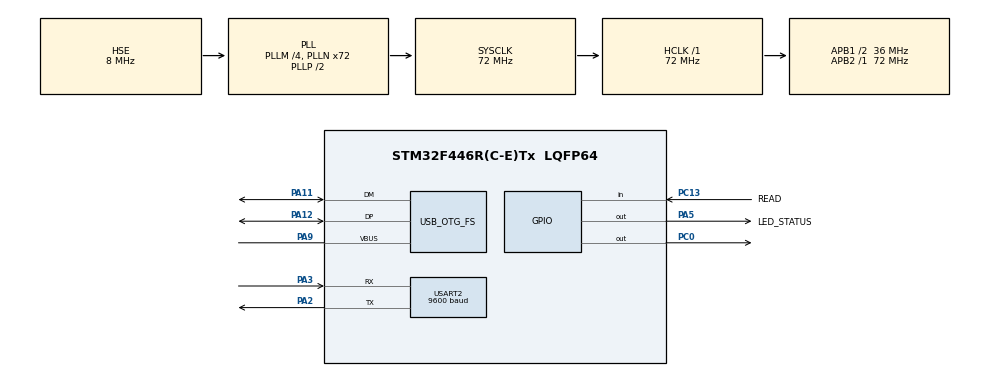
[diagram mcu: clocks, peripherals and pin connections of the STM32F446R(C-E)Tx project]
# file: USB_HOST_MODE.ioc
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FATFS._MAX_SS=4096
Mcu.Family=STM32F4
Mcu.Name=STM32F446R(C-E)Tx
Mcu.Package=LQFP64
NVIC.OTG_FS_IRQn=true\:0\:0\:false\:false\:true\:false\:true
NVIC.PriorityGroup=NVIC_PRIORITYGROUP_0
PA11.Mode=Host_Only
PA11.Signal=USB_OTG_FS_DM
PA12.Mode=Host_Only
PA12.Signal=USB_OTG_FS_DP
PA2.Mode=Asynchronous
PA2.Signal=USART2_TX
PA3.Mode=Asynchronous
PA3.Signal=USART2_RX
PA5.GPIO_Label=LED_STATUS
PA5.Signal=GPIO_Output
PA9.Mode=Activate_VBUS
PA9.Signal=USB_OTG_FS_VBUS
PC0.Signal=GPIO_Output
PC13.GPIO_Label=READ
PC13.Signal=GPIO_Input
PH0-OSC_IN.Mode=HSE-External-Oscillator
PH0-OSC_IN.Signal=RCC_OSC_IN
PH1-OSC_OUT.Mode=HSE-External-Oscillator
PH1-OSC_OUT.Signal=RCC_OSC_OUT
ProjectManager.HeapSize=0x2000
ProjectManager.StackSize=0x2000
ProjectManager.TargetToolchain=MDK-ARM V5.27
RCC.48MHZClocksFreq_Value=84000000
RCC.AHBFreq_Value=72000000
RCC.APB1CLKDivider=RCC_HCLK_DIV2
RCC.APB1Freq_Value=36000000
RCC.APB1TimFreq_Value=72000000
RCC.APB2Freq_Value=72000000
RCC.APB2TimFreq_Value=72000000
RCC.CortexFreq_Value=72000000
RCC.FLatency-AdvancedSettings=FLASH_LATENCY_2
RCC.HCLKFreq_Value=72000000
RCC.HSE_VALUE=8000000
RCC.HSI_VALUE=16000000
RCC.PLLM=4
RCC.PLLN=72
RCC.PLLQ=3
RCC.SYSCLKFreq_VALUE=72000000
RCC.SYSCLKSource=RCC_SYSCLKSOURCE_PLLCLK
RCC.USBFreq_Value=48000000
RCC.VCOOutputFreq_Value=144000000
USART2.BaudRate=9600
USART2.VirtualMode=VM_ASYNC
USB_HOST.BSP.number=1
USB_HOST.USBH_HandleTypeDef-MSC_FS=hUsbHostFS
USB_HOST.VirtualModeFS=Msc
USB_HOST0.BSP.STBoard=false
USB_HOST0.BSP.api=Unknown
USB_HOST0.BSP.i2caddr=0
USB_HOST0.BSP.instance=PC0
USB_HOST0.BSP.ip=GPIO
USB_HOST0.BSP.mode=Output
USB_HOST0.BSP.name=Drive_VBUS_FS
USB_HOST0.BSP.solution=PC0
USB_OTG_FS.VirtualMode=Host_Only
USB_OTG_FS.phy_itface=HCD_PHY_EMBEDDED
VP_FATFS_VS_USB.Mode=USB
VP_USB_HOST_VS_USB_HOST_MSC_FS.Mode=MSC_FS
board=NUCLEO-F446RE

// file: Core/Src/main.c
/* USER CODE BEGIN Header */
/**
  ******************************************************************************
  * @file           : main.c
  * @brief          : Main program body
  ******************************************************************************
  * @attention
  *
  * <h2><center>&copy; Copyright (c) 2021 STMicroelectronics.
  * All rights reserved.</center></h2>
  *
  * This software component is licensed by ST under Ultimate Liberty license
  * SLA0044, the "License"; You may not use this file except in compliance with
  * the License. You may obtain a copy of the License at:
  *                             www.st.com/SLA0044
  *
  ******************************************************************************
  */
/* USER CODE END Header */
#include "main.h"
#include "fatfs.h"
#include "usb_host.h"

/* USER CODE BEGIN Includes */
#include <stdio.h>
#include <string.h>
#include <stdbool.h>
#include <stdlib.h>
/* USER CODE END Includes */

UART_HandleTypeDef huart2;

/* USER CODE BEGIN PV */
extern ApplicationTypeDef Appli_state;
extern char USBHPath[4];   /* USBH logical drive path */
extern FATFS USBHFatFS;    /* File system object for USBH logical drive */
extern FIL USBHFile;       /* File object for USBH */
FRESULT RES;
char hold[100];
UINT byteswritten,bytesread;
/* USER CODE END PV */

void SystemClock_Config(void);
static void MX_GPIO_Init(void);
static void MX_USART2_UART_Init(void);
void MX_USB_HOST_Process(void);

/* USER CODE BEGIN PFP */
bool USB_WRITE(void);
bool USB_READ(void);

/* USER CODE END PFP */

int main(void)
{

  /* MCU Configuration--------------------------------------------------------*/

  /* Reset of all peripherals, Initializes the Flash interface and the Systick. */
  HAL_Init();

  /* Configure the system clock */
  SystemClock_Config();

  /* Initialize all configured peripherals */
  MX_GPIO_Init();
  MX_USART2_UART_Init();
  MX_FATFS_Init();
  MX_USB_HOST_Init();

  /* Infinite loop */
  while (1)
  {
    MX_USB_HOST_Process();

    /* USER CODE BEGIN 3 */
		switch(Appli_state)
		{
			case APPLICATION_IDLE:
				break;
			case APPLICATION_START:
				if(f_mount(&USBHFatFS,(TCHAR const*)USBHPath,0)==FR_OK)
				{
				HAL_GPIO_WritePin(LED_STATUS_GPIO_Port,LED_STATUS_Pin,GPIO_PIN_SET);
				}
					break;
			case APPLICATION_READY:
					HAL_Delay(3000);
					USB_WRITE();
					for(int i=0;i<=10;i++)
					{
						HAL_GPIO_TogglePin(LED_STATUS_GPIO_Port,LED_STATUS_Pin);
						HAL_Delay(100);
					}
					USB_READ();
				break;
			case APPLICATION_DISCONNECT:
				HAL_GPIO_WritePin(LED_STATUS_GPIO_Port,LED_STATUS_Pin,GPIO_PIN_RESET);
				break;

		}
  }
  /* USER CODE END 3 */
}

void SystemClock_Config(void)
{
  RCC_OscInitTypeDef RCC_OscInitStruct = {0};
  RCC_ClkInitTypeDef RCC_ClkInitStruct = {0};
  RCC_PeriphCLKInitTypeDef PeriphClkInitStruct = {0};

  /** Configure the main internal regulator output voltage
  */
  __HAL_RCC_PWR_CLK_ENABLE();
  __HAL_PWR_VOLTAGESCALING_CONFIG(PWR_REGULATOR_VOLTAGE_SCALE3);
  /** Initializes the RCC Oscillators according to the specified parameters
  * in the RCC_OscInitTypeDef structure.
  */
  RCC_OscInitStruct.OscillatorType = RCC_OSCILLATORTYPE_HSE;
  RCC_OscInitStruct.HSEState = RCC_HSE_ON;
  RCC_OscInitStruct.PLL.PLLState = RCC_PLL_ON;
  RCC_OscInitStruct.PLL.PLLSource = RCC_PLLSOURCE_HSE;
  RCC_OscInitStruct.PLL.PLLM = 4;
  RCC_OscInitStruct.PLL.PLLN = 72;
  RCC_OscInitStruct.PLL.PLLP = RCC_PLLP_DIV2;
  RCC_OscInitStruct.PLL.PLLQ = 3;
  RCC_OscInitStruct.PLL.PLLR = 2;
  if (HAL_RCC_OscConfig(&RCC_OscInitStruct) != HAL_OK)
  {
    Error_Handler();
  }
  /** Initializes the CPU, AHB and APB buses clocks
  */
  RCC_ClkInitStruct.ClockType = RCC_CLOCKTYPE_HCLK|RCC_CLOCKTYPE_SYSCLK
                              |RCC_CLOCKTYPE_PCLK1|RCC_CLOCKTYPE_PCLK2;
  RCC_ClkInitStruct.SYSCLKSource = RCC_SYSCLKSOURCE_PLLCLK;
  RCC_ClkInitStruct.AHBCLKDivider = RCC_SYSCLK_DIV1;
  RCC_ClkInitStruct.APB1CLKDivider = RCC_HCLK_DIV2;
  RCC_ClkInitStruct.APB2CLKDivider = RCC_HCLK_DIV1;

  if (HAL_RCC_ClockConfig(&RCC_ClkInitStruct, FLASH_LATENCY_2) != HAL_OK)
  {
    Error_Handler();
  }
  PeriphClkInitStruct.PeriphClockSelection = RCC_PERIPHCLK_CLK48;
  PeriphClkInitStruct.Clk48ClockSelection = RCC_CLK48CLKSOURCE_PLLQ;
  if (HAL_RCCEx_PeriphCLKConfig(&PeriphClkInitStruct) != HAL_OK)
  {
    Error_Handler();
  }
}

static void MX_USART2_UART_Init(void)
{

  huart2.Instance = USART2;
  huart2.Init.BaudRate = 9600;
  huart2.Init.WordLength = UART_WORDLENGTH_8B;
  huart2.Init.StopBits = UART_STOPBITS_1;
  huart2.Init.Parity = UART_PARITY_NONE;
  huart2.Init.Mode = UART_MODE_TX_RX;
  huart2.Init.HwFlowCtl = UART_HWCONTROL_NONE;
  huart2.Init.OverSampling = UART_OVERSAMPLING_16;
  if (HAL_UART_Init(&huart2) != HAL_OK)
  {
    Error_Handler();
  }

}

static void MX_GPIO_Init(void)
{
  GPIO_InitTypeDef GPIO_InitStruct = {0};

  /* GPIO Ports Clock Enable */
  __HAL_RCC_GPIOC_CLK_ENABLE();
  __HAL_RCC_GPIOH_CLK_ENABLE();
  __HAL_RCC_GPIOA_CLK_ENABLE();

  /*Configure GPIO pin Output Level */
  HAL_GPIO_WritePin(GPIOC, GPIO_PIN_0, GPIO_PIN_RESET);

  /*Configure GPIO pin Output Level */
  HAL_GPIO_WritePin(LED_STATUS_GPIO_Port, LED_STATUS_Pin, GPIO_PIN_RESET);

  /*Configure GPIO pin : READ_Pin */
  GPIO_InitStruct.Pin = READ_Pin;
  GPIO_InitStruct.Mode = GPIO_MODE_INPUT;
  GPIO_InitStruct.Pull = GPIO_NOPULL;
  HAL_GPIO_Init(READ_GPIO_Port, &GPIO_InitStruct);

  /*Configure GPIO pin : PC0 */
  GPIO_InitStruct.Pin = GPIO_PIN_0;
  GPIO_InitStruct.Mode = GPIO_MODE_OUTPUT_PP;
  GPIO_InitStruct.Pull = GPIO_NOPULL;
  GPIO_InitStruct.Speed = GPIO_SPEED_FREQ_LOW;
  HAL_GPIO_Init(GPIOC, &GPIO_InitStruct);

  /*Configure GPIO pin : LED_STATUS_Pin */
  GPIO_InitStruct.Pin = LED_STATUS_Pin;
  GPIO_InitStruct.Mode = GPIO_MODE_OUTPUT_PP;
  GPIO_InitStruct.Pull = GPIO_NOPULL;
  GPIO_InitStruct.Speed = GPIO_SPEED_FREQ_LOW;
  HAL_GPIO_Init(LED_STATUS_GPIO_Port, &GPIO_InitStruct);

}

/* USER CODE BEGIN 4 */
bool USB_WRITE(void)
{
	if(f_open(&USBHFile,"ADC.TXT",FA_WRITE |FA_CREATE_ALWAYS)!=FR_OK)
	{
		return 0;
	}
	else
	{
		sprintf(hold,"VOLTAGE");
		RES= f_write(&USBHFile,(const void *)hold,strlen(hold),&byteswritten);
		if(RES !=FR_OK || byteswritten==0)
		{
			return 0;
		}
	}
	f_close(&USBHFile);
	return 1;
}

bool USB_READ(void)
{
	if(f_open(&USBHFile,"ADC.TXT",FA_READ)!=FR_OK)
	{
		return 0;
	}
	else
	{
		sprintf(hold,"VOLTAGE");
		RES=f_read(&USBHFile,(void *)hold,strlen(hold),&bytesread);
		if(RES !=FR_OK || bytesread==0)
		{
			return 0;
		}
	}
	f_close(&USBHFile);
	HAL_UART_Transmit(&huart2,(uint8_t*)hold,sizeof(hold),1000);
	return 1;
}

/* USER CODE END 4 */

void Error_Handler(void)
{
  __disable_irq();
  while (1)
  {
  }
}

/************************ (C) COPYRIGHT STMicroelectronics *****END OF FILE****/
